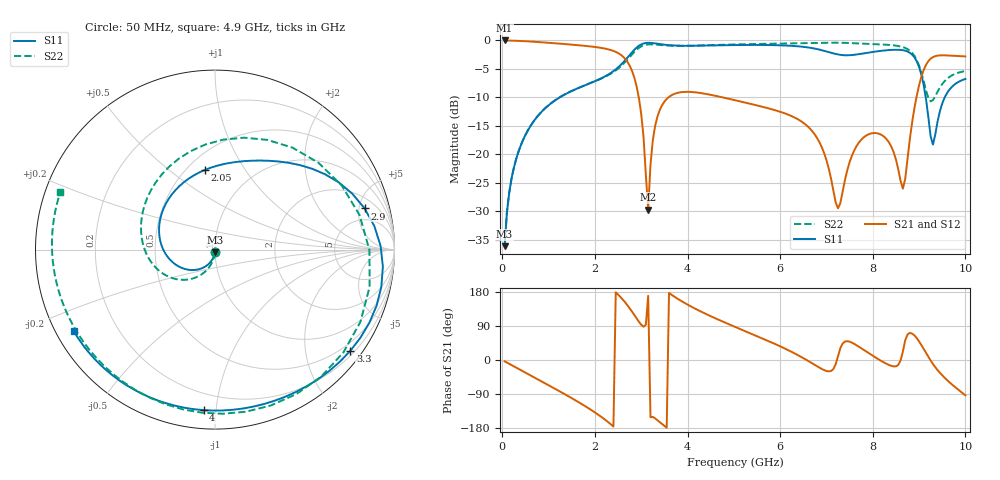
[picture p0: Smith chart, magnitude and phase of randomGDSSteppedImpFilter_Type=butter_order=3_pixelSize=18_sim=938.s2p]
! freq	dB(S11)	phase(S11)	dB(S12)	phase(S12)
!  dB(S21)	phase(S21)	dB(S22)	phase(S22)
!S-par simulation data
#  GHz  S  DB  R 50
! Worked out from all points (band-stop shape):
!   200 points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, 50 MHz to 10 GHz, reference 50 ohm
!   highest |S21| = -0.01 dB at 50 MHz (marker M1); lowest = -29.7 dB at 3.15 GHz (marker M2)
!   |S21| within 3 dB of the highest: start of sweep to 2.626 GHz; 9.286 GHz to end of sweep
!   lowest |S11| = -36.1 dB at 50 MHz (marker M3), VSWR 1.03, Z = 49.9 - j1.55 ohm
!   |S11| at or under -10 dB: start of sweep to 1.241 GHz; 9.143 GHz to 9.555 GHz (411.1 MHz wide, 4.4 % of centre)
!   |S22| runs from -36.1 to -0.4 dB; largest |S21 - S12| = 0
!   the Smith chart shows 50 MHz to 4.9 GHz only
!   S11 on the Smith chart (normalised r, x): 50 MHz: 1.00, -0.03; 2.05 GHz: 0.61, +0.68; 2.9 GHz: 3.14, +5.71; 3.3 GHz: 0.30, -2.99; 4 GHz: 0.10, -0.93; 4.9 GHz: 0.05, -0.27
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0.05  -36.14 -93.4  -0.01 -3.4  -0.01 -3.4  -36.13 -92.0
0.5  -16.61 -131.1  -0.14 -33.4  -0.14 -33.4  -16.59 -116.7
1.75  -8.00 123.6  -0.93 -118.8  -0.93 -118.8  -7.99 177.3
2.05  -6.99 97.3  -1.21 -142.5  -1.21 -142.5  -7.01 156.2
2.65  -3.52 44.9  -3.20 152.5  -3.20 152.5  -3.82 75.5
2.9  -1.26 15.4  -8.07 109.8  -8.07 109.8  -1.64 13.4
3.15  -0.42 -19.2  -29.70 169.2  -29.70 169.2  -0.70 -50.1
3.3  -0.52 -36.7  -15.04 -154.0  -15.04 -154.0  -0.73 -79.2
3.4  -0.64 -46.8  -12.23 -164.1  -12.23 -164.1  -0.80 -94.7
4  -0.95 -94.1  -9.03 146.2  -9.03 146.2  -0.95 -152.4
4.9  -0.83 -150.1  -10.27 94.0  -10.27 94.0  -0.73 159.7
5.05  -0.81 -159.0  -10.55 86.2  -10.55 86.2  -0.70 153.2
5.95  -0.85 143.0  -12.40 39.0  -12.40 39.0  -0.56 117.0
6.7  -1.36 67.8  -16.02 -9.3  -16.02 -9.3  -0.44 87.9
7.1  -2.17 -2.0  -24.32 -29.0  -24.32 -29.0  -0.39 71.6
7.5  -2.60 -90.4  -21.38 48.3  -21.38 48.3  -0.46 54.5
7.9  -2.15 -163.0  -16.52 19.0  -16.52 19.0  -0.60 37.1
8.35  -1.70 135.8  -17.92 -13.1  -17.92 -13.1  -0.79 15.1
8.65  -1.72 95.3  -26.04 22.4  -26.04 22.4  -1.18 -4.2
8.95  -3.67 42.6  -9.70 57.7  -9.70 57.7  -3.44 -31.7
9.3  -18.30 45.0  -2.93 -10.5  -2.93 -10.5  -10.48 -9.1
10  -6.77 3.7  -2.82 -93.2  -2.82 -93.2  -5.37 -13.5
